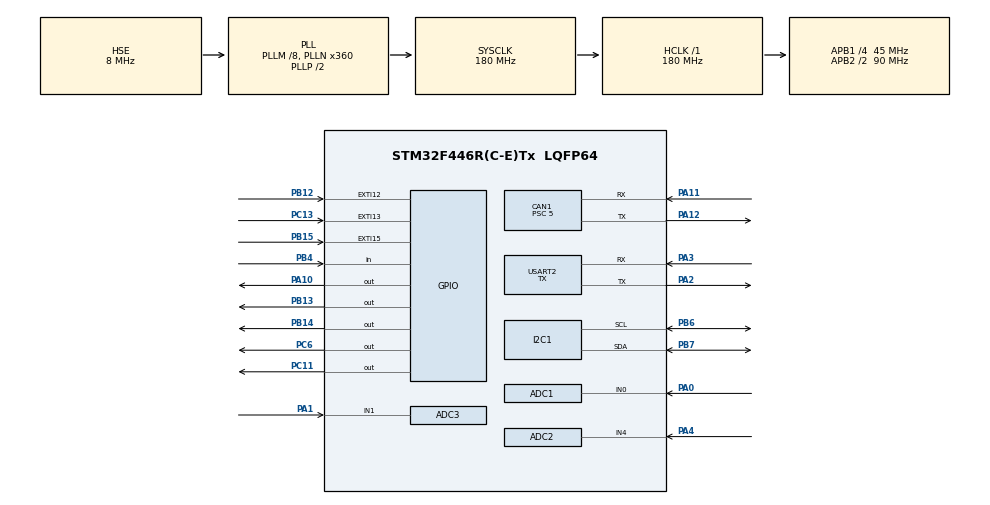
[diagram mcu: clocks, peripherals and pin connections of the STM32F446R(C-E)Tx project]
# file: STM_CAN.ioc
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ADC1.Channel-0\#ChannelRegularConversion=ADC_CHANNEL_0
ADC1.Channel-3\#ChannelInjectedConversion=ADC_CHANNEL_0
ADC1.ExternalTrigInjecConv=ADC_EXTERNALTRIGINJECCONV_T1_TRGO
ADC1.InjNumberOfConversion=1
ADC1.InjectedOffset-3\#ChannelInjectedConversion=0
ADC1.InjectedRank-3\#ChannelInjectedConversion=1
ADC1.NbrOfConversion=1
ADC1.NbrOfConversionFlag=1
ADC1.Rank-0\#ChannelRegularConversion=1
ADC1.SamplingTime-0\#ChannelRegularConversion=ADC_SAMPLETIME_3CYCLES
ADC1.SamplingTime-3\#ChannelInjectedConversion=ADC_SAMPLETIME_56CYCLES
ADC1.master=1
ADC2.Channel-1\#ChannelRegularConversion=ADC_CHANNEL_4
ADC2.Channel-2\#ChannelInjectedConversion=ADC_CHANNEL_4
ADC2.ExternalTrigInjecConv=ADC_EXTERNALTRIGINJECCONV_T1_TRGO
ADC2.InjNumberOfConversion=1
ADC2.InjectedOffset-2\#ChannelInjectedConversion=0
ADC2.InjectedRank-2\#ChannelInjectedConversion=1
ADC2.NbrOfConversionFlag=1
ADC2.Rank-1\#ChannelRegularConversion=1
ADC2.SamplingTime-1\#ChannelRegularConversion=ADC_SAMPLETIME_3CYCLES
ADC2.SamplingTime-2\#ChannelInjectedConversion=ADC_SAMPLETIME_56CYCLES
ADC3.Channel-0\#ChannelRegularConversion=ADC_CHANNEL_1
ADC3.Channel-1\#ChannelInjectedConversion=ADC_CHANNEL_1
ADC3.ExternalTrigInjecConv=ADC_EXTERNALTRIGINJECCONV_T1_TRGO
ADC3.InjNumberOfConversion=1
ADC3.InjectedOffset-1\#ChannelInjectedConversion=0
ADC3.InjectedRank-1\#ChannelInjectedConversion=1
ADC3.NbrOfConversionFlag=1
ADC3.Rank-0\#ChannelRegularConversion=1
ADC3.SamplingTime-0\#ChannelRegularConversion=ADC_SAMPLETIME_3CYCLES
ADC3.SamplingTime-1\#ChannelInjectedConversion=ADC_SAMPLETIME_56CYCLES
CAN1.BS1=CAN_BS1_7TQ
CAN1.CalculateTimeQuantum=111.11111111111111
CAN1.NART=ENABLE
CAN1.Prescaler=5
Mcu.Family=STM32F4
Mcu.Name=STM32F446R(C-E)Tx
Mcu.Package=LQFP64
NVIC.ADC_IRQn=true\:1\:0\:true\:false\:true\:true\:true
NVIC.CAN1_RX0_IRQn=true\:0\:0\:true\:false\:true\:true\:true
NVIC.EXTI15_10_IRQn=true\:0\:0\:false\:false\:true\:true\:true
NVIC.PriorityGroup=NVIC_PRIORITYGROUP_4
NVIC.TIM2_IRQn=true\:0\:0\:true\:false\:true\:true\:true
PA0-WKUP.Signal=ADCx_IN0
PA1.Signal=ADCx_IN1
PA10.Signal=GPIO_Output
PA11.Mode=Master
PA11.Signal=CAN1_RX
PA12.Mode=Master
PA12.Signal=CAN1_TX
PA2.Mode=Asynchronous
PA2.Signal=USART2_TX
PA3.Mode=Asynchronous
PA3.Signal=USART2_RX
PA4.Signal=ADCx_IN4
PB12.GPIO_ModeDefaultEXTI=GPIO_MODE_IT_FALLING
PB12.Signal=GPXTI12
PB13.Signal=GPIO_Output
PB14.Signal=GPIO_Output
PB15.GPIO_ModeDefaultEXTI=GPIO_MODE_IT_FALLING
PB15.Signal=GPXTI15
PB4.Signal=GPIO_Input
PB6.Mode=I2C
PB6.Signal=I2C1_SCL
PB7.Mode=I2C
PB7.Signal=I2C1_SDA
PC11.GPIO_PuPd=GPIO_PULLDOWN
PC11.Signal=GPIO_Output
PC13.GPIO_ModeDefaultEXTI=GPIO_MODE_IT_FALLING
PC13.Signal=GPXTI13
PC6.Signal=GPIO_Output
PH0-OSC_IN.Mode=HSE-External-Oscillator
PH0-OSC_IN.Signal=RCC_OSC_IN
PH1-OSC_OUT.Mode=HSE-External-Oscillator
PH1-OSC_OUT.Signal=RCC_OSC_OUT
ProjectManager.HeapSize=0x200
ProjectManager.StackSize=0x400
ProjectManager.TargetToolchain=EWARM V8
RCC.AHBFreq_Value=180000000
RCC.APB1CLKDivider=RCC_HCLK_DIV4
RCC.APB1Freq_Value=45000000
RCC.APB1TimFreq_Value=90000000
RCC.APB2CLKDivider=RCC_HCLK_DIV2
RCC.APB2Freq_Value=90000000
RCC.APB2TimFreq_Value=180000000
RCC.CortexFreq_Value=180000000
RCC.HCLKFreq_Value=180000000
RCC.HSE_VALUE=8000000
RCC.PLLM=8
RCC.PLLN=360
RCC.PLLSourceVirtual=RCC_PLLSOURCE_HSE
RCC.SYSCLKFreq_VALUE=180000000
RCC.SYSCLKSource=RCC_SYSCLKSOURCE_PLLCLK
RCC.USBFreq_Value=180000000
RCC.VCOOutputFreq_Value=360000000
SH.ADCx_IN0.0=ADC1_IN0,IN0
SH.ADCx_IN1.0=ADC3_IN1,IN1
SH.ADCx_IN4.0=ADC2_IN4,IN4
TIM1.Period=119
TIM1.Prescaler=14999
TIM1.TIM_MasterOutputTrigger=TIM_TRGO_UPDATE
TIM2.Period=44999
TIM2.Prescaler=1
TIM3.Period=59999
USART2.Mode=MODE_TX
USART2.VirtualMode=VM_ASYNC
VP_TIM1_VS_ClockSourceINT.Mode=Internal
VP_TIM2_VS_ClockSourceINT.Mode=Internal
VP_TIM3_VS_ClockSourceINT.Mode=Internal
board=custom

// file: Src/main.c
/* USER CODE BEGIN Header */
/**
 ******************************************************************************
 * @file           : main.c
 * @brief          : Main program body
 ******************************************************************************
 * @attention
 *
 * <h2><center>&copy; Copyright (c) 2021 STMicroelectronics.
 * All rights reserved.</center></h2>
 *
 * This software component is licensed by ST under BSD 3-Clause license,
 * the "License"; You may not use this file except in compliance with the
 * License. You may obtain a copy of the License at:
 *                        opensource.org/licenses/BSD-3-Clause
 *
 ******************************************************************************
 */
/* USER CODE END Header */

#include "main.h"

/* USER CODE BEGIN Includes */
#include "CANOPEN_var.h"
#include "CANOpen.h"
#include "math.h"
#include "CANOpen_batch.h"
#include "CAN_HLC.h"
#include "CAN_NMT.h"
#include <stdint.h>
#include <string.h>
/* USER CODE END Includes */

ADC_HandleTypeDef hadc1;
ADC_HandleTypeDef hadc2;
ADC_HandleTypeDef hadc3;

CAN_HandleTypeDef hcan1;

I2C_HandleTypeDef hi2c1;

TIM_HandleTypeDef htim1;
TIM_HandleTypeDef htim2;
TIM_HandleTypeDef htim3;

UART_HandleTypeDef huart2;

void SystemClock_Config(void);
static void MX_GPIO_Init(void);
static void MX_ADC1_Init(void);
static void MX_CAN1_Init(void);
static void MX_TIM1_Init(void);
static void MX_TIM2_Init(void);
static void MX_ADC2_Init(void);
static void MX_ADC3_Init(void);
static void MX_TIM3_Init(void);
static void MX_USART2_UART_Init(void);
static void MX_I2C1_Init(void);
/* USER CODE BEGIN PFP */
CO_PDOStruct Tpdo1_N1;
CO_PDOStruct Tpdo2_N1;
CO_PDOStruct Tpdo3_N1;
CO_PDOStruct Tpdo4_N1;
CO_PDOStruct Rpdo1_N1;
CO_PDOStruct Rpdo2_N1;
CO_PDOStruct Rpdo3_N1;
CO_PDOStruct Rpdo4_N1;

CO_MOTOR motor_[4];

/* USER CODE END PFP */

/* USER CODE BEGIN 0 */

void HAL_CAN_RxFifo0MsgPendingCallback(CAN_HandleTypeDef *hcan) // HAL_Can interrupt
{
  uint8_t node;
  if (hcan->Instance == CAN1)
  {
    HAL_CAN_GetRxMessage(&hcan1, CAN_RX_FIFO0, &RxHeader, RxData);
    if (RxHeader.StdId == 0x51) // Save the motion profile
    {
    }

    else if (RxHeader.StdId > 0x480 && RxHeader.StdId < 0x500) // PDO#4
    {
      node = RxHeader.StdId - 0x480;
      memcpy(&Pos_check[node - 1], &RxData[0], 4);
      // Pos_limit_flag[node-1] = Pos_Limit(Pos_check[node-1],Pos_lbound_hard[node-1],Pos_ubound_hard[node-1]);
      if (Pos_check[node - 1] < Pos_lbound_hard[node - 1])
      {
        Pos_limit_flag[node - 1] = 1;
      }
      else if (Pos_check[node - 1] > Pos_ubound_hard[node - 1])
      {
        Pos_limit_flag[node - 1] = 2;
      }
      CANOpen_addRxBuffer(RxHeader.StdId, RxData);
    }
    else if (RxHeader.StdId > 0x180 && RxHeader.StdId < 0x200)
    {
      node = RxHeader.StdId - 0x180;
      motor_[node - 1].PDO_Status = PDO_CV_Received;
      CANOpen_addRxBuffer(RxHeader.StdId, RxData);
    }

    else if (RxHeader.StdId > 0x280 && RxHeader.StdId < 0x300)
    {
      node = RxHeader.StdId - 0x280;
      motor_[node - 1].PDO_Status = PDO_CV_Received;
      CANOpen_addRxBuffer(RxHeader.StdId, RxData);
    }

    else if (RxHeader.StdId > 0x380 && RxHeader.StdId < 0x400)
    {
      node = RxHeader.StdId - 0x380;
      motor_[node - 1].PDO_Status = PDO_CV_Received;
      CANOpen_addRxBuffer(RxHeader.StdId, RxData);
    }

    else
    {
      CANOpen_addRxBuffer(RxHeader.StdId, RxData);
    }
  }
}

void HAL_TIM_PeriodElapsedCallback(TIM_HandleTypeDef *htim)
{
  if (htim == &htim2)
  {
    CANOpen_timerLoop();
  }
  else if (htim == &htim3)
  {
  }
}

void HAL_GPIO_EXTI_Callback(uint16_t GPIO_Pin)
{
  if (GPIO_Pin == GPIO_PIN_13) // Blue switch
  {
    Input = Button1;
  }

  else if (GPIO_Pin == GPIO_PIN_15) // Lower switch (Far from STM)
  {
    Input = Button2;
    RealTime = 0; // Stop the RT control mode.
  }

  else if (GPIO_Pin == GPIO_PIN_12) // Upper switch (close to STM)
  {
    Input = Button3;
    RealTime = 0; // Stop the RT control mode.
  }
}

uint8_t UserButton = 1;
uint32_t j = 1;
uint8_t i2cList[128];
// static uint8_t j = 1;�? 밖에 빼서 ?��?��?��.
void HAL_ADCEx_InjectedConvCpltCallback(ADC_HandleTypeDef *hadc)
{
  uint8_t i;
  uint8_t adc_read = 1;
  uint8_t Flag_RT = 0;
  static int32_t DesiredValue[4] = {0,0,0,0};
  static int32_t DesiredValue_prev[4] = {0,0,0,0};
  static uint8_t ConvFlag[4] = {0, 0, 0, 0};

  uint8_t Automotive =1; // if automotive is 1, the motor is controlled automatically else the motor is controlled manually.

  if (hadc == &hadc1)
  {
    adcValue[0] = ADC1->JDR1;
    adcValue[1] = ADC2->JDR1;
    adcValue[2] = ADC3->JDR1;

    memcpy(&Force_CO[0], &adcValue[0], 2);
    memcpy(&Force_CO[2], &adcValue[1], 2);
    memcpy(&Force_CO[4], &adcValue[2], 2);
    HAL_GPIO_WritePin(GPIOC, GPIO_PIN_11, GPIO_PIN_RESET);
    Flag_RT = 1;
    if (Input == RT_on)
    {
      CANOpen_sendFrame(0x51, Force_CO, 6, 0); // SendForceData

      for (i = 1; i < 5; i++)
      {
        // 1.1 UpdateDesiredCM/Values in automotive case
        if (Automotive)
        {
          if (motor_[i - 1].PDO_Status == PDO_DV_Sent)
          {
            Con_Mode_Prev[i - 1] = Con_Mode[i - 1];
            Con_Mode_Prev[i - 1] = Con_Mode[i - 1];

            if(j==1)
              {
                Con_Mode[i - 1] = motor_[i - 1].Con_Mode[j - 1];
              }
              else if(j>1 && j%3 ==1)
              {
              Con_Mode[i - 1] = motor_[i - 1].Con_Mode[1];
              }
              else if (j>1 && j%3 == 2)
              {
              Con_Mode[i - 1] = motor_[i - 1].Con_Mode[2];
              }
              else if (j > 1 && j % 3 == 0)
              {
              Con_Mode[i - 1] = motor_[i - 1].Con_Mode[3];
              }
            // 1.1.1 SetControlMode
            // 1.1.2 SetDesiredValue
            if (Con_Mode[i - 1] == Admittance)
            {
              Desired_A_Prev[i-1] = Desired_A[i-1];
              Desired_A[i - 1] = motor_[i - 1].DesiredForce[j - 1];
              Tension_error[i - 1] = (float)(Desired_A[i - 1] - adcValue[adc_read]);
              DesiredValue_prev[i - 1] = DesiredValue[i - 1];
              DesiredValue[i - 1] = (int32_t)(kp[i - 1] * Tension_error[i - 1] + kd[i - 1] * (Tension_error[i - 1] - Tension_error_before[i - 1]));
              memcpy(&Tension_error_before[i - 1], &Tension_error[i - 1], 4);
            }
            else
            {
              if(j==1)
              {
                DesiredValue_prev[i - 1] = DesiredValue[i - 1];
                DesiredValue[i - 1] = motor_[i - 1].DesiredValue[j - 1];
              }
              else if(j>1 && j%3 ==1)
              {
               DesiredValue_prev[i - 1] = DesiredValue[i - 1];
               DesiredValue[i - 1] = motor_[i - 1].DesiredValue[3];
              }
              else if (j>1 && j%3 == 2)
              {
                DesiredValue_prev[i - 1] = DesiredValue[i - 1];
                DesiredValue[i - 1] = motor_[i - 1].DesiredValue[1];
              }
              else if (j > 1 && j % 3 == 0)
              {
                DesiredValue_prev[i - 1] = DesiredValue[i - 1];
                DesiredValue[i - 1] = motor_[i - 1].DesiredValue[2];
              }

//              DesiredValue_Global[i - 1] = motor_[i - 1].DesiredValue[j - 1];
            }
            motor_[i - 1].PDO_Status = PDO_DV_Updated;
          }
        }

        // 1.2 UpdateDesiredCM/Values in manual case
        else if (Automotive == 0)
        {
          if (UserButton == 1)
          {
            // 1.2.1 SetControlMode
            Con_Mode_Prev[i - 1] = Con_Mode[i - 1];
            Con_Mode[i - 1] = Con_Mode_input[i - 1];
            if (i == 4)
            {
              UserButton = 0;
            }
            // 1.2.2 SetDesiredValue
            if (Con_Mode[i - 1] == Admittance)
            {
              Desired_A_Prev[i - 1] = Desired_A[i - 1];
              Desired_A[i - 1] = Desired_input_A[i - 1];
              Tension_error[i - 1] = (float)(Desired_A[i - 1] - adcValue[adc_read]);
              DesiredValue_prev[i - 1] = DesiredValue[i - 1];
              DesiredValue[i - 1] = (int32_t)(kp[i - 1] * Tension_error[i - 1] + kd[i - 1] * (Tension_error[i - 1] - Tension_error_before[i - 1]));
              memcpy(&Tension_error_before[i - 1], &Tension_error[i - 1], 4);
            }
            else
            {
              Desired_PV[i - 1] = Desired_input_PV[i - 1];
              DesiredValue_prev[i - 1] = DesiredValue[i - 1];
              DesiredValue[i - 1] = Desired_PV[i - 1];
            }
            motor_[i - 1].PDO_Status = PDO_DV_Updated;
          }
        }

        if (motor_[i - 1].PDO_Status == PDO_DV_Updated)
        {
          // 2. CANSetControlMode
          if (j == 1)
          {
            CAN_Set_ControlMode(Con_Mode[i - 1], Node[i - 1]);
          }
          else
          {
            if (Con_Mode[i - 1] != Con_Mode_Prev[i - 1])
            {
              CAN_Set_ControlMode(Con_Mode[i - 1], Node[i - 1]); //
            }
          }

          // 3. AskCurrentValue
          CAN_Ask_CurrentValue(Con_Mode[i - 1], Node[i - 1]); // Ask the current value until the motor reaches to the target value.
          motor_[i - 1].PDO_Status = PDO_CV_Waiting;
        }

        // 4. Check the convergence

        if (motor_[i - 1].PDO_Status == PDO_CV_Received || motor_[i - 1].PDO_Status == PDO_CV_NotConverged)
        {
          if (j == 1)
          {
            if (CAN_Check_Convergence(Con_Mode[i - 1], Node[i - 1], DesiredValue[i - 1], Tension_error[i-1], & motor_[i - 1]) == 1)
            {
              motor_[i - 1].PDO_Status = PDO_CV_Converged;
              ConvFlag[i - 1] = 1;
             }
             else{
               motor_[i - 1].PDO_Status = PDO_CV_NotConverged;
               ConvFlag[i-1] = 0;
             }
          }
          else
          {
            if (CAN_Check_Convergence(Con_Mode[i - 1], Node[i - 1], DesiredValue_prev[i - 1], Tension_error[i - 1], & motor_[i - 1]) == 1)
            {
              motor_[i - 1].PDO_Status = PDO_CV_Converged;
              ConvFlag[i - 1] = 1;
            }
            else
            {
              motor_[i - 1].PDO_Status = PDO_CV_NotConverged;
              ConvFlag[i - 1] = 0;
            }
          }
        }
        CAN_Send_DesiredValue(Con_Mode[i - 1], Node[i - 1], DesiredValue[i - 1], &motor_[i - 1]);
        motor_[i - 1].PDO_Status = PDO_DV_Sent;
        // 5. SendDesiredValue
        if (ConvFlag[0] + ConvFlag[1] + ConvFlag[2] + ConvFlag[3] == 4)
        {
          HAL_GPIO_WritePin(GPIOC, GPIO_PIN_11, GPIO_PIN_SET);
          ConvFlag[0] = 0;
          ConvFlag[1] = 0;
          ConvFlag[2] = 0;
          ConvFlag[3] = 0;

          if(j<1000)
          {
            j++;
          }
        }
        else if (ConvFlag[0] + ConvFlag[1] + ConvFlag[2] + ConvFlag[3] >4)
        {
          motor_[i-1].PDO_Status = PDO_error;
        }
      }
      if (Flag_RT)
      {
        CANOpen_sendSync();
      }
    }
  }
}

/* USER CODE END 0 */

int main(void)
{

  /* MCU Configuration--------------------------------------------------------*/

  /* Reset of all peripherals, Initializes the Flash interface and the Systick. */
  HAL_Init();

  /* Configure the system clock */
  SystemClock_Config();

  /* Initialize all configured peripherals */
  MX_GPIO_Init();
  MX_ADC1_Init();
  MX_CAN1_Init();
  MX_TIM1_Init();
  MX_TIM2_Init();
  MX_ADC2_Init();
  MX_ADC3_Init();
  MX_TIM3_Init();
  MX_USART2_UART_Init();
  MX_I2C1_Init();
  /* USER CODE BEGIN 2 */

  // [[ 1. Init CAN ]]
  CAN_FilterTypeDef sFilterConfig;
  sFilterConfig.FilterBank = 0;
  sFilterConfig.FilterMode = CAN_FILTERMODE_IDMASK;
  sFilterConfig.FilterScale = CAN_FILTERSCALE_16BIT;
  sFilterConfig.FilterIdHigh = 0x0000;
  sFilterConfig.FilterIdLow = 0x0000;
  sFilterConfig.FilterMaskIdHigh = 0x0000;
  sFilterConfig.FilterMaskIdLow = 0x0000;
  sFilterConfig.FilterFIFOAssignment = CAN_RX_FIFO0;
  sFilterConfig.FilterActivation = ENABLE;
  sFilterConfig.SlaveStartFilterBank = 14;

  if (HAL_CAN_ConfigFilter(&hcan1, &sFilterConfig) != HAL_OK)
  {
    Error_Handler();
  }
  HAL_CAN_ActivateNotification(&hcan1, CAN_IT_RX_FIFO0_MSG_PENDING);
  if (HAL_CAN_Start(&hcan1) != HAL_OK)
  {
    Error_Handler();
  }

  // [[ 2. Init CAN timerloop ]]
  HAL_TIM_Base_Start_IT(&htim2);

  // [[ 3. Init PDO mapping ]]
  CANOpen_init();
  for (uint8_t i = 0; i < 4; i++)
  {
    CANOpen_mappingPDO_init(&motor_[i].TPDO[0]);
    CANOpen_mappingPDO_int32(&motor_[i].TPDO[0], &Pos[i]);

    CANOpen_mappingPDO_init(&motor_[i].TPDO[1]);
    CANOpen_mappingPDO_int32(&motor_[i].TPDO[1], &Vel[i]);

    CANOpen_mappingPDO_init(&motor_[i].TPDO[2]);
    CANOpen_mappingPDO_int16(&motor_[i].TPDO[2], &Torque[i]);

    CANOpen_mappingPDO_init(&motor_[i].TPDO[3]);
    CANOpen_mappingPDO_int32(&motor_[i].TPDO[3], &Pos_check[i]);
    CANOpen_mappingPDO_uint16(&motor_[i].TPDO[3], &StatusWord[i]);

    CANOpen_mappingPDO_init(&motor_[i].RPDO[0]);
    CANOpen_mappingPDO_uint16(&motor_[i].RPDO[0], &ControlWord[i]);

    CANOpen_mappingPDO_init(&motor_[i].RPDO[1]);
    CANOpen_mappingPDO_int32(&motor_[i].RPDO[1], &Target_Pos[i]);

    CANOpen_mappingPDO_init(&motor_[i].RPDO[2]);
    CANOpen_mappingPDO_int32(&motor_[i].RPDO[2], &Target_Vel[i]);

    CANOpen_mappingPDO_init(&motor_[i].RPDO[3]);
    CANOpen_mappingPDO_int16(&motor_[i].RPDO[3], &Target_Tor[i]);

  }
  memcpy(&motor_[0].Con_Mode[0], &Con_ModePreset_M1[0], 80);
  memcpy(&motor_[0].DesiredForce[0], &DesiredForcePreset_M1[0], 40);
  memcpy(&motor_[0].DesiredValue[0], &DesiredValuePreset_M1[0], 80);

  memcpy(&motor_[1].Con_Mode[0], &Con_ModePreset_M2[0], 80);
  memcpy(&motor_[1].DesiredForce[0], &DesiredForcePreset_M2[0], 40);
  memcpy(&motor_[1].DesiredValue[0], &DesiredValuePreset_M2[0], 80);

  memcpy(&motor_[2].Con_Mode[0], &Con_ModePreset_M3[0], 80);
  memcpy(&motor_[2].DesiredForce[0], &DesiredForcePreset_M3[0], 40);
  memcpy(&motor_[2].DesiredValue[0], &DesiredValuePreset_M3[0], 80);

  memcpy(&motor_[3].Con_Mode[0], &Con_ModePreset_M4[0], 80);
  memcpy(&motor_[3].DesiredForce[0], &DesiredForcePreset_M4[0], 40);
  memcpy(&motor_[3].DesiredValue[0], &DesiredValuePreset_M4[0], 80);

  Ctrl_Mode = Profile_vel;

  // [[4 . Start Main timer ]]
  HAL_TIM_Base_Start(&htim1);
  HAL_ADCEx_InjectedStart_IT(&hadc1);
  HAL_ADCEx_InjectedStart(&hadc2);
  HAL_ADCEx_InjectedStart(&hadc3);

  uint8_t address;
  uint8_t txDummy;
  /* USER CODE END 2 */

  /* Infinite loop */
  /* USER CODE BEGIN WHILE */
  while (1)
  {
    HAL_GPIO_WritePin(GPIOA,GPIO_PIN_10,GPIO_PIN_SET);
    for(address=0;address<128;address++){
      if(HAL_I2C_Master_Transmit(&hi2c1, address<<1, &txDummy,0,1000)==HAL_OK){
        i2cList[address] = 1;
      }
         else{
           i2cList[address] = 2;
         }
         HAL_Delay(1);
    }
    if (!RealTime)
    {
      switch (Input)
      {
      case Init:
        // CO_status = Init_CAN(100);
        if (Init_CAN(50) == CO_OK)
        {
          Input = Init_state;
          break;
        }
      case Button1: // Blue switch : Start RT control
        // Enter_RT_CAN(Profile_vel, 50);
        Input = RT_on;
        break;
      case Button2: // Lower switch (close to STM) //
        for (uint8_t i = 0; i < 4; i++)
        {
          CAN_Set_ControlMode(Cyclic_sync_pos, Node[i]);       // Set to the position control mode
          CAN_Set_TargetValue(Cyclic_sync_pos, 0x00, Node[i]); // Go to initial position.
        }
        Input = Init_state;
        break;
      case Button3: // Upper switch (Far from STM) -- Emergency Reset : Stop the controller
        Reset_MotorDriver(50);
        Input = Init_state;
        break;
      }
    }
    for (uint8_t i = 0; i < 4; i++)
    {
      if (Pos_limit_flag[i] == 1) // lbound
      {
        CAN_Set_ControlMode(Cyclic_sync_pos, Node[i - 1]);                    // 1
        CAN_Set_TargetValue(Cyclic_sync_pos, Pos_lbound[i - 1], Node[i - 1]); // Go to initial position.
        CAN_Set_ControlMode(Con_Mode[i - 1], Node[i - 1]);                    // 1
      }
      else if (Pos_limit_flag[i] == 2) // ubound
      {
        CAN_Set_ControlMode(Cyclic_sync_pos, i);                              // 2
        CAN_Set_TargetValue(Cyclic_sync_pos, Pos_ubound[i - 1], Node[i - 1]); // Go to initial position.
        CAN_Set_ControlMode(Con_Mode[i - 1], Node[i - 1]);                    // 1
      }
    }

    /* USER CODE END WHILE */

  }
}

void SystemClock_Config(void)
{
  RCC_OscInitTypeDef RCC_OscInitStruct = {0};
  RCC_ClkInitTypeDef RCC_ClkInitStruct = {0};

  /** Configure the main internal regulator output voltage
  */
  __HAL_RCC_PWR_CLK_ENABLE();
  __HAL_PWR_VOLTAGESCALING_CONFIG(PWR_REGULATOR_VOLTAGE_SCALE1);
  /** Initializes the CPU, AHB and APB busses clocks
  */
  RCC_OscInitStruct.OscillatorType = RCC_OSCILLATORTYPE_HSE;
  RCC_OscInitStruct.HSEState = RCC_HSE_ON;
  RCC_OscInitStruct.PLL.PLLState = RCC_PLL_ON;
  RCC_OscInitStruct.PLL.PLLSource = RCC_PLLSOURCE_HSE;
  RCC_OscInitStruct.PLL.PLLM = 8;
  RCC_OscInitStruct.PLL.PLLN = 360;
  RCC_OscInitStruct.PLL.PLLP = RCC_PLLP_DIV2;
  RCC_OscInitStruct.PLL.PLLQ = 2;
  RCC_OscInitStruct.PLL.PLLR = 2;
  if (HAL_RCC_OscConfig(&RCC_OscInitStruct) != HAL_OK)
  {
    Error_Handler();
  }
  /** Activate the Over-Drive mode
  */
  if (HAL_PWREx_EnableOverDrive() != HAL_OK)
  {
    Error_Handler();
  }
  /** Initializes the CPU, AHB and APB busses clocks
  */
  RCC_ClkInitStruct.ClockType = RCC_CLOCKTYPE_HCLK|RCC_CLOCKTYPE_SYSCLK
                              |RCC_CLOCKTYPE_PCLK1|RCC_CLOCKTYPE_PCLK2;
  RCC_ClkInitStruct.SYSCLKSource = RCC_SYSCLKSOURCE_PLLCLK;
  RCC_ClkInitStruct.AHBCLKDivider = RCC_SYSCLK_DIV1;
  RCC_ClkInitStruct.APB1CLKDivider = RCC_HCLK_DIV4;
  RCC_ClkInitStruct.APB2CLKDivider = RCC_HCLK_DIV2;

  if (HAL_RCC_ClockConfig(&RCC_ClkInitStruct, FLASH_LATENCY_5) != HAL_OK)
  {
    Error_Handler();
  }
}

static void MX_ADC1_Init(void)
{

  ADC_ChannelConfTypeDef sConfig = {0};
  ADC_InjectionConfTypeDef sConfigInjected = {0};

  /** Configure the global features of the ADC (Clock, Resolution, Data Alignment and number of conversion)
  */
  hadc1.Instance = ADC1;
  hadc1.Init.ClockPrescaler = ADC_CLOCK_SYNC_PCLK_DIV4;
  hadc1.Init.Resolution = ADC_RESOLUTION_12B;
  hadc1.Init.ScanConvMode = DISABLE;
  hadc1.Init.ContinuousConvMode = DISABLE;
  hadc1.Init.DiscontinuousConvMode = DISABLE;
  hadc1.Init.ExternalTrigConvEdge = ADC_EXTERNALTRIGCONVEDGE_NONE;
  hadc1.Init.ExternalTrigConv = ADC_SOFTWARE_START;
  hadc1.Init.DataAlign = ADC_DATAALIGN_RIGHT;
  hadc1.Init.NbrOfConversion = 1;
  hadc1.Init.DMAContinuousRequests = DISABLE;
  hadc1.Init.EOCSelection = ADC_EOC_SINGLE_CONV;
  if (HAL_ADC_Init(&hadc1) != HAL_OK)
  {
    Error_Handler();
  }
  /** Configure for the selected ADC regular channel its corresponding rank in the sequencer and its sample time.
  */
  sConfig.Channel = ADC_CHANNEL_0;
  sConfig.Rank = 1;
  sConfig.SamplingTime = ADC_SAMPLETIME_3CYCLES;
  if (HAL_ADC_ConfigChannel(&hadc1, &sConfig) != HAL_OK)
  {
    Error_Handler();
  }
  /** Configures for the selected ADC injected channel its corresponding rank in the sequencer and its sample time
  */
  sConfigInjected.InjectedChannel = ADC_CHANNEL_0;
  sConfigInjected.InjectedRank = 1;
  sConfigInjected.InjectedNbrOfConversion = 1;
  sConfigInjected.InjectedSamplingTime = ADC_SAMPLETIME_56CYCLES;
  sConfigInjected.ExternalTrigInjecConvEdge = ADC_EXTERNALTRIGINJECCONVEDGE_RISING;
  sConfigInjected.ExternalTrigInjecConv = ADC_EXTERNALTRIGINJECCONV_T1_TRGO;
  sConfigInjected.AutoInjectedConv = DISABLE;
  sConfigInjected.InjectedDiscontinuousConvMode = DISABLE;
  sConfigInjected.InjectedOffset = 0;
  if (HAL_ADCEx_InjectedConfigChannel(&hadc1, &sConfigInjected) != HAL_OK)
  {
    Error_Handler();
  }

}

static void MX_ADC2_Init(void)
{

  ADC_ChannelConfTypeDef sConfig = {0};
  ADC_InjectionConfTypeDef sConfigInjected = {0};

  /** Configure the global features of the ADC (Clock, Resolution, Data Alignment and number of conversion)
  */
  hadc2.Instance = ADC2;
  hadc2.Init.ClockPrescaler = ADC_CLOCK_SYNC_PCLK_DIV4;
  hadc2.Init.Resolution = ADC_RESOLUTION_12B;
  hadc2.Init.ScanConvMode = DISABLE;
  hadc2.Init.ContinuousConvMode = DISABLE;
  hadc2.Init.DiscontinuousConvMode = DISABLE;
  hadc2.Init.ExternalTrigConvEdge = ADC_EXTERNALTRIGCONVEDGE_NONE;
  hadc2.Init.ExternalTrigConv = ADC_SOFTWARE_START;
  hadc2.Init.DataAlign = ADC_DATAALIGN_RIGHT;
  hadc2.Init.NbrOfConversion = 1;
  hadc2.Init.DMAContinuousRequests = DISABLE;
  hadc2.Init.EOCSelection = ADC_EOC_SINGLE_CONV;
  if (HAL_ADC_Init(&hadc2) != HAL_OK)
  {
    Error_Handler();
  }
  /** Configure for the selected ADC regular channel its corresponding rank in the sequencer and its sample time.
  */
  sConfig.Channel = ADC_CHANNEL_4;
  sConfig.Rank = 1;
  sConfig.SamplingTime = ADC_SAMPLETIME_3CYCLES;
  if (HAL_ADC_ConfigChannel(&hadc2, &sConfig) != HAL_OK)
  {
    Error_Handler();
  }
  /** Configures for the selected ADC injected channel its corresponding rank in the sequencer and its sample time
  */
  sConfigInjected.InjectedChannel = ADC_CHANNEL_4;
  sConfigInjected.InjectedRank = 1;
  sConfigInjected.InjectedNbrOfConversion = 1;
  sConfigInjected.InjectedSamplingTime = ADC_SAMPLETIME_56CYCLES;
  sConfigInjected.ExternalTrigInjecConvEdge = ADC_EXTERNALTRIGINJECCONVEDGE_RISING;
  sConfigInjected.ExternalTrigInjecConv = ADC_EXTERNALTRIGINJECCONV_T1_TRGO;
  sConfigInjected.AutoInjectedConv = DISABLE;
  sConfigInjected.InjectedDiscontinuousConvMode = DISABLE;
  sConfigInjected.InjectedOffset = 0;
  if (HAL_ADCEx_InjectedConfigChannel(&hadc2, &sConfigInjected) != HAL_OK)
  {
    Error_Handler();
  }

}

static void MX_ADC3_Init(void)
{

  ADC_ChannelConfTypeDef sConfig = {0};
  ADC_InjectionConfTypeDef sConfigInjected = {0};

  /** Configure the global features of the ADC (Clock, Resolution, Data Alignment and number of conversion)
  */
  hadc3.Instance = ADC3;
  hadc3.Init.ClockPrescaler = ADC_CLOCK_SYNC_PCLK_DIV4;
  hadc3.Init.Resolution = ADC_RESOLUTION_12B;
  hadc3.Init.ScanConvMode = DISABLE;
  hadc3.Init.ContinuousConvMode = DISABLE;
  hadc3.Init.DiscontinuousConvMode = DISABLE;
  hadc3.Init.ExternalTrigConvEdge = ADC_EXTERNALTRIGCONVEDGE_NONE;
  hadc3.Init.ExternalTrigConv = ADC_SOFTWARE_START;
  hadc3.Init.DataAlign = ADC_DATAALIGN_RIGHT;
  hadc3.Init.NbrOfConversion = 1;
  hadc3.Init.DMAContinuousRequests = DISABLE;
  hadc3.Init.EOCSelection = ADC_EOC_SINGLE_CONV;
  if (HAL_ADC_Init(&hadc3) != HAL_OK)
  {
    Error_Handler();
  }
  /** Configure for the selected ADC regular channel its corresponding rank in the sequencer and its sample time.
  */
  sConfig.Channel = ADC_CHANNEL_1;
  sConfig.Rank = 1;
  sConfig.SamplingTime = ADC_SAMPLETIME_3CYCLES;
  if (HAL_ADC_ConfigChannel(&hadc3, &sConfig) != HAL_OK)
  {
    Error_Handler();
  }
  /** Configures for the selected ADC injected channel its corresponding rank in the sequencer and its sample time
  */
  sConfigInjected.InjectedChannel = ADC_CHANNEL_1;
  sConfigInjected.InjectedRank = 1;
  sConfigInjected.InjectedNbrOfConversion = 1;
  sConfigInjected.InjectedSamplingTime = ADC_SAMPLETIME_56CYCLES;
  sConfigInjected.ExternalTrigInjecConvEdge = ADC_EXTERNALTRIGINJECCONVEDGE_RISING;
  sConfigInjected.ExternalTrigInjecConv = ADC_EXTERNALTRIGINJECCONV_T1_TRGO;
  sConfigInjected.AutoInjectedConv = DISABLE;
  sConfigInjected.InjectedDiscontinuousConvMode = DISABLE;
  sConfigInjected.InjectedOffset = 0;
  if (HAL_ADCEx_InjectedConfigChannel(&hadc3, &sConfigInjected) != HAL_OK)
  {
    Error_Handler();
  }

}

static void MX_CAN1_Init(void)
{

  hcan1.Instance = CAN1;
  hcan1.Init.Prescaler = 5;
  hcan1.Init.Mode = CAN_MODE_NORMAL;
  hcan1.Init.SyncJumpWidth = CAN_SJW_1TQ;
  hcan1.Init.TimeSeg1 = CAN_BS1_7TQ;
  hcan1.Init.TimeSeg2 = CAN_BS2_1TQ;
  hcan1.Init.TimeTriggeredMode = DISABLE;
  hcan1.Init.AutoBusOff = DISABLE;
  hcan1.Init.AutoWakeUp = DISABLE;
  hcan1.Init.AutoRetransmission = ENABLE;
  hcan1.Init.ReceiveFifoLocked = DISABLE;
  hcan1.Init.TransmitFifoPriority = DISABLE;
  if (HAL_CAN_Init(&hcan1) != HAL_OK)
  {
    Error_Handler();
  }

}

static void MX_I2C1_Init(void)
{

  hi2c1.Instance = I2C1;
  hi2c1.Init.ClockSpeed = 100000;
  hi2c1.Init.DutyCycle = I2C_DUTYCYCLE_2;
  hi2c1.Init.OwnAddress1 = 0;
  hi2c1.Init.AddressingMode = I2C_ADDRESSINGMODE_7BIT;
  hi2c1.Init.DualAddressMode = I2C_DUALADDRESS_DISABLE;
  hi2c1.Init.OwnAddress2 = 0;
  hi2c1.Init.GeneralCallMode = I2C_GENERALCALL_DISABLE;
  hi2c1.Init.NoStretchMode = I2C_NOSTRETCH_DISABLE;
  if (HAL_I2C_Init(&hi2c1) != HAL_OK)
  {
    Error_Handler();
  }

}

static void MX_TIM1_Init(void)
{

  TIM_ClockConfigTypeDef sClockSourceConfig = {0};
  TIM_MasterConfigTypeDef sMasterConfig = {0};

  htim1.Instance = TIM1;
  htim1.Init.Prescaler = 14999;
  htim1.Init.CounterMode = TIM_COUNTERMODE_UP;
  htim1.Init.Period = 119;
  htim1.Init.ClockDivision = TIM_CLOCKDIVISION_DIV1;
  htim1.Init.RepetitionCounter = 0;
  htim1.Init.AutoReloadPreload = TIM_AUTORELOAD_PRELOAD_DISABLE;
  if (HAL_TIM_Base_Init(&htim1) != HAL_OK)
  {
    Error_Handler();
  }
  sClockSourceConfig.ClockSource = TIM_CLOCKSOURCE_INTERNAL;
  if (HAL_TIM_ConfigClockSource(&htim1, &sClockSourceConfig) != HAL_OK)
  {
    Error_Handler();
  }
  sMasterConfig.MasterOutputTrigger = TIM_TRGO_UPDATE;
  sMasterConfig.MasterSlaveMode = TIM_MASTERSLAVEMODE_DISABLE;
  if (HAL_TIMEx_MasterConfigSynchronization(&htim1, &sMasterConfig) != HAL_OK)
  {
    Error_Handler();
  }

}

static void MX_TIM2_Init(void)
{

  TIM_ClockConfigTypeDef sClockSourceConfig = {0};
  TIM_MasterConfigTypeDef sMasterConfig = {0};

  htim2.Instance = TIM2;
  htim2.Init.Prescaler = 1;
  htim2.Init.CounterMode = TIM_COUNTERMODE_UP;
  htim2.Init.Period = 44999;
  htim2.Init.ClockDivision = TIM_CLOCKDIVISION_DIV1;
  htim2.Init.AutoReloadPreload = TIM_AUTORELOAD_PRELOAD_DISABLE;
  if (HAL_TIM_Base_Init(&htim2) != HAL_OK)
  {
    Error_Handler();
  }
  sClockSourceConfig.ClockSource = TIM_CLOCKSOURCE_INTERNAL;
  if (HAL_TIM_ConfigClockSource(&htim2, &sClockSourceConfig) != HAL_OK)
  {
    Error_Handler();
  }
  sMasterConfig.MasterOutputTrigger = TIM_TRGO_RESET;
  sMasterConfig.MasterSlaveMode = TIM_MASTERSLAVEMODE_DISABLE;
  if (HAL_TIMEx_MasterConfigSynchronization(&htim2, &sMasterConfig) != HAL_OK)
  {
    Error_Handler();
  }

}

static void MX_TIM3_Init(void)
{

  TIM_ClockConfigTypeDef sClockSourceConfig = {0};
  TIM_MasterConfigTypeDef sMasterConfig = {0};

  htim3.Instance = TIM3;
  htim3.Init.Prescaler = 0;
  htim3.Init.CounterMode = TIM_COUNTERMODE_UP;
  htim3.Init.Period = 59999;
  htim3.Init.ClockDivision = TIM_CLOCKDIVISION_DIV1;
  htim3.Init.AutoReloadPreload = TIM_AUTORELOAD_PRELOAD_DISABLE;
  if (HAL_TIM_Base_Init(&htim3) != HAL_OK)
  {
    Error_Handler();
  }
  sClockSourceConfig.ClockSource = TIM_CLOCKSOURCE_INTERNAL;
  if (HAL_TIM_ConfigClockSource(&htim3, &sClockSourceConfig) != HAL_OK)
  {
    Error_Handler();
  }
  sMasterConfig.MasterOutputTrigger = TIM_TRGO_RESET;
  sMasterConfig.MasterSlaveMode = TIM_MASTERSLAVEMODE_DISABLE;
  if (HAL_TIMEx_MasterConfigSynchronization(&htim3, &sMasterConfig) != HAL_OK)
  {
    Error_Handler();
  }

}

static void MX_USART2_UART_Init(void)
{

  huart2.Instance = USART2;
  huart2.Init.BaudRate = 115200;
  huart2.Init.WordLength = UART_WORDLENGTH_8B;
  huart2.Init.StopBits = UART_STOPBITS_1;
  huart2.Init.Parity = UART_PARITY_NONE;
  huart2.Init.Mode = UART_MODE_TX;
  huart2.Init.HwFlowCtl = UART_HWCONTROL_NONE;
  huart2.Init.OverSampling = UART_OVERSAMPLING_16;
  if (HAL_UART_Init(&huart2) != HAL_OK)
  {
    Error_Handler();
  }

}

static void MX_GPIO_Init(void)
{
  GPIO_InitTypeDef GPIO_InitStruct = {0};

  /* GPIO Ports Clock Enable */
  __HAL_RCC_GPIOC_CLK_ENABLE();
  __HAL_RCC_GPIOH_CLK_ENABLE();
  __HAL_RCC_GPIOA_CLK_ENABLE();
  __HAL_RCC_GPIOB_CLK_ENABLE();

  /*Configure GPIO pin Output Level */
  HAL_GPIO_WritePin(GPIOB, GPIO_PIN_13|GPIO_PIN_14, GPIO_PIN_RESET);

  /*Configure GPIO pin Output Level */
  HAL_GPIO_WritePin(GPIOC, GPIO_PIN_6|GPIO_PIN_11, GPIO_PIN_RESET);

  /*Configure GPIO pin Output Level */
  HAL_GPIO_WritePin(GPIOA, GPIO_PIN_10, GPIO_PIN_RESET);

  /*Configure GPIO pin : PC13 */
  GPIO_InitStruct.Pin = GPIO_PIN_13;
  GPIO_InitStruct.Mode = GPIO_MODE_IT_FALLING;
  GPIO_InitStruct.Pull = GPIO_NOPULL;
  HAL_GPIO_Init(GPIOC, &GPIO_InitStruct);

  /*Configure GPIO pins : PB12 PB15 */
  GPIO_InitStruct.Pin = GPIO_PIN_12|GPIO_PIN_15;
  GPIO_InitStruct.Mode = GPIO_MODE_IT_FALLING;
  GPIO_InitStruct.Pull = GPIO_NOPULL;
  HAL_GPIO_Init(GPIOB, &GPIO_InitStruct);

  /*Configure GPIO pins : PB13 PB14 */
  GPIO_InitStruct.Pin = GPIO_PIN_13|GPIO_PIN_14;
  GPIO_InitStruct.Mode = GPIO_MODE_OUTPUT_PP;
  GPIO_InitStruct.Pull = GPIO_NOPULL;
  GPIO_InitStruct.Speed = GPIO_SPEED_FREQ_LOW;
  HAL_GPIO_Init(GPIOB, &GPIO_InitStruct);

  /*Configure GPIO pin : PC6 */
  GPIO_InitStruct.Pin = GPIO_PIN_6;
  GPIO_InitStruct.Mode = GPIO_MODE_OUTPUT_PP;
  GPIO_InitStruct.Pull = GPIO_NOPULL;
  GPIO_InitStruct.Speed = GPIO_SPEED_FREQ_LOW;
  HAL_GPIO_Init(GPIOC, &GPIO_InitStruct);

  /*Configure GPIO pin : PA10 */
  GPIO_InitStruct.Pin = GPIO_PIN_10;
  GPIO_InitStruct.Mode = GPIO_MODE_OUTPUT_PP;
  GPIO_InitStruct.Pull = GPIO_NOPULL;
  GPIO_InitStruct.Speed = GPIO_SPEED_FREQ_LOW;
  HAL_GPIO_Init(GPIOA, &GPIO_InitStruct);

  /*Configure GPIO pin : PC11 */
  GPIO_InitStruct.Pin = GPIO_PIN_11;
  GPIO_InitStruct.Mode = GPIO_MODE_OUTPUT_PP;
  GPIO_InitStruct.Pull = GPIO_PULLDOWN;
  GPIO_InitStruct.Speed = GPIO_SPEED_FREQ_LOW;
  HAL_GPIO_Init(GPIOC, &GPIO_InitStruct);

  /*Configure GPIO pin : PB4 */
  GPIO_InitStruct.Pin = GPIO_PIN_4;
  GPIO_InitStruct.Mode = GPIO_MODE_INPUT;
  GPIO_InitStruct.Pull = GPIO_NOPULL;
  HAL_GPIO_Init(GPIOB, &GPIO_InitStruct);

  /* EXTI interrupt init*/
  HAL_NVIC_SetPriority(EXTI15_10_IRQn, 0, 0);
  HAL_NVIC_EnableIRQ(EXTI15_10_IRQn);

}

/* USER CODE BEGIN 4 */
/*extern void CAN_Filter_Init(void)
{
  CAN_FilterTypeDef sFilterConfig;
  sFilterConfig.FilterBank = 0;
  sFilterConfig.FilterMode = CAN_FILTERMODE_IDMASK;
  sFilterConfig.FilterScale = CAN_FILTERSCALE_16BIT;
  sFilterConfig.FilterIdHigh = 0x0000;
  sFilterConfig.FilterIdLow = 0x0000;
  sFilterConfig.FilterMaskIdHigh = 0x0000;
  sFilterConfig.FilterMaskIdLow = 0x0000;
  sFilterConfig.FilterFIFOAssignment = CAN_RX_FIFO0;
  sFilterConfig.FilterActivation = ENABLE;
  sFilterConfig.SlaveStartFilterBank = 14;

  if (HAL_CAN_ConfigFilter(&hcan1, &sFilterConfig) != HAL_OK)
  {
    Error_Handler();
  }
}*/
/* USER CODE END 4 */

void Error_Handler(void)
{
}

/************************ (C) COPYRIGHT STMicroelectronics *****END OF FILE****/
